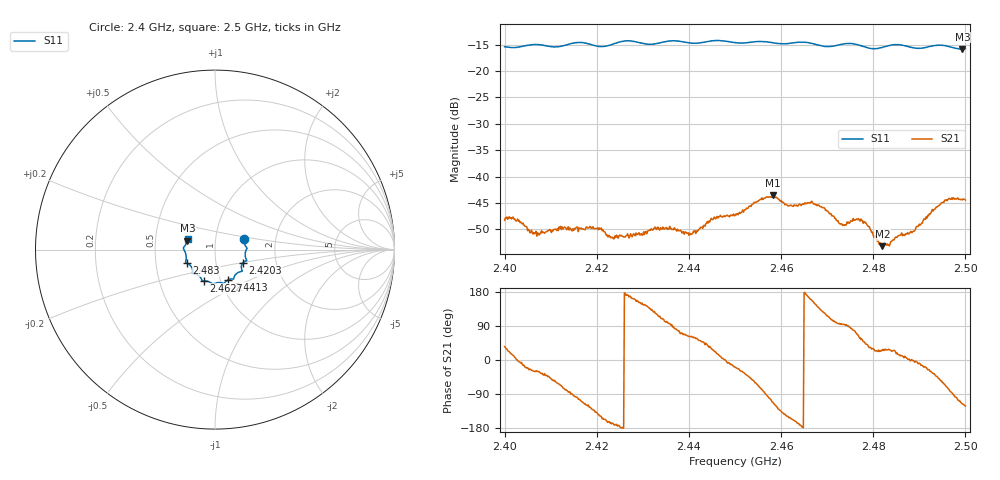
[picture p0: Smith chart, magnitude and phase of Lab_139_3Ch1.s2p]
# Hz S RI R 50
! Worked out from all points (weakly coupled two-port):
!   601 points, 2.4 GHz to 2.5 GHz, reference 50 ohm
!   highest |S21| = -43.56 dB at 2.4582 GHz (marker M1); lowest = -53.2 dB at 2.482 GHz (marker M2)
!   lowest |S11| = -15.8 dB at 2.4993 GHz (marker M3), VSWR 1.39, Z = 36.5 + j3.72 ohm
!   |S11| at or under -10 dB: start of sweep to end of sweep
!   S12 and S22 are empty: the file has one direction only
!   S11 on the Smith chart (normalised r, x): 2.4 GHz: 1.37, +0.16; 2.4203 GHz: 1.35, -0.21; 2.4413 GHz: 1.09, -0.38; 2.4627 GHz: 0.83, -0.30; 2.483 GHz: 0.72, -0.11; 2.5 GHz: 0.73, +0.09
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2.4e9  0.1605 0.0568  0.00315 0.00223  0 0  0 0
2.402333e9  0.1643 0.0316  0.00384 0.000395  0 0  0 0
2.407e9  0.1785 0.00764  0.00235 -0.00138  0 0  0 0
2.416667e9  0.176 -0.0616  -0.00104 -0.00308  0 0  0 0
2.420333e9  0.155 -0.0739  -0.00256 -0.00182  0 0  0 0
2.423333e9  0.1471 -0.1021  -0.00256 -0.000608  0 0  0 0
2.433333e9  0.108 -0.1486  -0.00148 0.00296  0 0  0 0
2.441333e9  0.0743 -0.168  0.0016 0.00263  0 0  0 0
2.445167e9  0.0519 -0.1869  0.0035 0.00173  0 0  0 0
2.45e9  0.0291 -0.1838  0.00407 -0.00134  0 0  0 0
2.458167e9  -0.0238 -0.1843  -0.00234 -0.00621  0 0  0 0
2.462667e9  -0.062 -0.1749  -0.00483 -0.00195  0 0  0 0
2.466667e9  -0.0743 -0.1674  -0.00542 0.00218  0 0  0 0
2.473333e9  -0.12 -0.1344  -0.000232 0.00343  0 0  0 0
2.477833e9  -0.1242 -0.1177  0.00239 0.0027  0 0  0 0
2.482e9  -0.1472 -0.081  0.00194 0.00102  0 0  0 0
2.483e9  -0.155 -0.0767  0.00206 0.00104  0 0  0 0
2.483333e9  -0.1571 -0.0756  0.00199 0.00108  0 0  0 0
2.488667e9  -0.1602 -0.0449  0.00303 -6.68e-05  0 0  0 0
2.495333e9  -0.1747 0.0125  0.00258 -0.00507  0 0  0 0
2.499333e9  -0.1541 0.0496  -0.0026 -0.00541  0 0  0 0
2.5e9  -0.1528 0.0585  -0.00311 -0.00512  0 0  0 0
